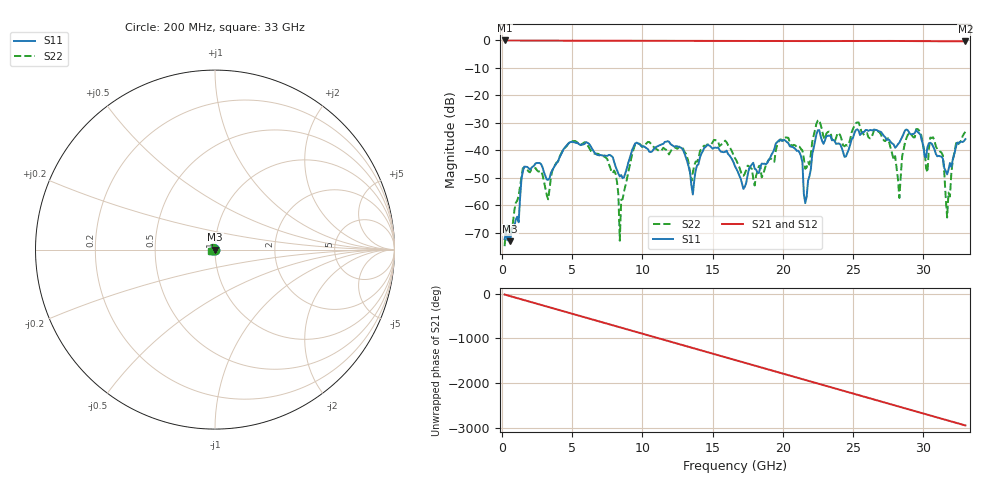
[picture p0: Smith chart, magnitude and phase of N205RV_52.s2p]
# GHZ S RI R 50
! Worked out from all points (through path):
!   329 points, 200 MHz to 33 GHz, reference 50 ohm
!   highest |S21| = -0.02 dB at 200 MHz (marker M1); lowest = -0.3 dB at 33 GHz (marker M2)
!   group delay of S21, straight-line fit = 248 ps
!   lowest |S11| = -73.1 dB at 600 MHz (marker M3), VSWR 1.00, Z = 50 + j0.0213 ohm
!   |S11| at or under -10 dB: start of sweep to end of sweep
!   |S22| runs from -74.8 to -29.0 dB; largest |S21 - S12| = 0.0019
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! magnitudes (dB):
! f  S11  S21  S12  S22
! 200 MHz  -72.3  0.0  0.0  -74.8
! 600 MHz  -73.1  0.0  0.0  -70.5
! 1.6 GHz  -45.9  -0.1  -0.1  -46.5
! 3.3 GHz  -50.7  -0.1  -0.1  -57.8
! 5.7 GHz  -38.0  -0.1  -0.1  -37.7
! 8.1 GHz  -45.9  -0.1  -0.1  -48.5
! 8.4 GHz  -49.5  -0.1  -0.1  -72.9
! 9.5 GHz  -37.4  -0.1  -0.1  -37.7
! 11.2 GHz  -38.2  -0.2  -0.2  -40.1
! 13.6 GHz  -56.1  -0.2  -0.2  -48.0
! 14.6 GHz  -38.2  -0.2  -0.2  -37.9
! 16.6 GHz  -45.8  -0.2  -0.2  -42.8
! 20.1 GHz  -36.2  -0.2  -0.2  -35.5
! 21.6 GHz  -59.2  -0.2  -0.2  -46.7
! 22.1 GHz  -41.4  -0.2  -0.2  -36.9
! 27.6 GHz  -36.3  -0.2  -0.2  -37.6
! 28.3 GHz  -37.2  -0.2  -0.2  -57.3
! 28.9 GHz  -32.7  -0.2  -0.2  -34.4
! 30.7 GHz  -38.5  -0.3  -0.3  -35.2
! 31.4 GHz  -43.0  -0.3  -0.3  -41.9
! 31.7 GHz  -48.7  -0.3  -0.3  -64.4
! 33 GHz  -35.9  -0.3  -0.3  -33.3
